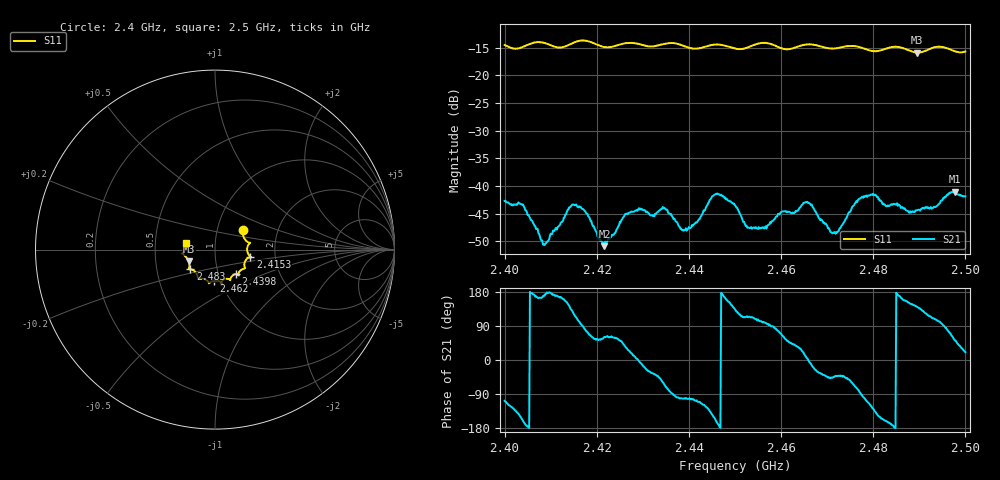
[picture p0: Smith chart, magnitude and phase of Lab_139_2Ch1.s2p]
# Hz S RI R 50
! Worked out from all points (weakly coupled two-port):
!   601 points, 2.4 GHz to 2.5 GHz, reference 50 ohm
!   highest |S21| = -41.00 dB at 2.4977 GHz (marker M1); lowest = -50.9 dB at 2.4217 GHz (marker M2)
!   lowest |S11| = -15.9 dB at 2.4895 GHz (marker M3), VSWR 1.38, Z = 36.9 - j4.99 ohm
!   |S11| at or under -10 dB: start of sweep to end of sweep
!   S12 and S22 are empty: the file has one direction only
!   S11 on the Smith chart (normalised r, x): 2.4 GHz: 1.33, +0.29; 2.4153 GHz: 1.48, -0.12; 2.4398 GHz: 1.21, -0.34; 2.462 GHz: 0.93, -0.33; 2.483 GHz: 0.74, -0.17; 2.5 GHz: 0.72, +0.06
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2.4e9  0.1552 0.1065  -0.00221 -0.00699  0 0  0 0
2.403833e9  0.1733 0.0497  -0.00622 -0.00266  0 0  0 0
2.408833e9  0.1925 0.0348  -0.00299 0.000405  0 0  0 0
2.415333e9  0.1966 -0.0387  -0.0029 0.00608  0 0  0 0
2.416667e9  0.2023 -0.0428  -0.000379 0.0063  0 0  0 0
2.421667e9  0.1699 -0.0607  0.00139 0.0025  0 0  0 0
2.4265e9  0.1676 -0.1018  0.00481 0.00294  0 0  0 0
2.433333e9  0.1311 -0.1334  0.00432 -0.004  0 0  0 0
2.434833e9  0.1307 -0.1426  0.00238 -0.00578  0 0  0 0
2.439833e9  0.1154 -0.1365  -0.000907 -0.00402  0 0  0 0
2.445667e9  0.0847 -0.1701  -0.00763 -0.00348  0 0  0 0
2.45e9  0.0649 -0.1626  -0.00457 0.00488  0 0  0 0
2.453167e9  0.0376 -0.178  -0.00172 0.00379  0 0  0 0
2.462e9  -0.00522 -0.1734  0.00406 0.00406  0 0  0 0
2.466667e9  -0.0344 -0.1875  0.0066 -0.00167  0 0  0 0
2.471333e9  -0.0622 -0.1633  0.00266 -0.00267  0 0  0 0
2.4775e9  -0.0971 -0.1489  -0.000326 -0.00794  0 0  0 0
2.483e9  -0.1374 -0.1096  -0.00626 -0.00195  0 0  0 0
2.483333e9  -0.1401 -0.1094  -0.0064 -0.00168  0 0  0 0
2.4895e9  -0.1464 -0.0658  -0.00465 0.00387  0 0  0 0
2.497667e9  -0.1655 0.0011  0.00537 0.00712  0 0  0 0
2.5e9  -0.1598 0.0391  0.00754 0.00286  0 0  0 0
